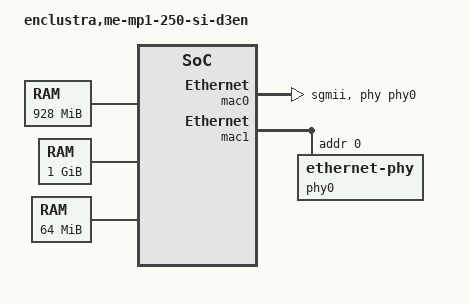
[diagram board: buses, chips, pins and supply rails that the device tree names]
// SPDX-License-Identifier: (GPL-2.0+ OR MIT)
/*
 * Copyright (C) 2025 Enclustra GmbH
 * <info@enclustra.com>
 */

#include "enclustra_mercury_mp1_common.dtsi"

/ {
	model = "enclustra,me-mp1-250-si-d3en";

	aliases {
		ethernet0 = &mac0;
		ethernet1 = &mac1;
	};

	/* 960 Mbyte DDR4 memory in 32bit addressable range */
	mss_memory_low: memory@84000000 {
		device_type = "memory";
		reg = <0x0 0x84000000 0x0 0x3a000000>;
	};

	/* 1024 Mbyte DDR4 memory in 64bit addressable range */
	mss_memory_high: memory@1000000000 {
		device_type = "memory";
		reg = <0x10 0x0 0x0 0x40000000>;
	};

	/* 64Mbyte non-cached memory for DMA */
	ddr_non_cached_high: memory@c0000000 {
		device_type = "memory";
		reg = <0x0 0xc0000000 0x0 0x4000000>;
	};

	soc {
		dma-ranges = <0x14 0x0        0x0  0xc0000000 0x0 0x4000000>,
		             <0x14 0x4000000  0x0  0x84000000 0x0 0x3a000000>,
		             <0x14 0x40000000 0x10 0x0        0x0 0x40000000>;
	};

	reserved-memory {
		#address-cells = <2>;
		#size-cells = <2>;
		ranges;

		dma_non_cached_low: dma_memory@c0000000 {
			compatible = "shared-dma-pool";
			size = <0x0 0x4000000>;
			no-map;
			linux,dma-default;
			alloc-ranges = <0x0 0xc0000000 0x0 0x4000000>;
		};
	};
};

&mac0 {
	status = "okay";
	/delete-property/ mac-address;
	/delete-property/ local-mac-address;
	dma-noncoherent;
	phy-mode = "sgmii";
	phy-handle = <&phy0>;
};

&mac1 {
	phy0: ethernet-phy@0 {
		reg = <0>;
	};
};
